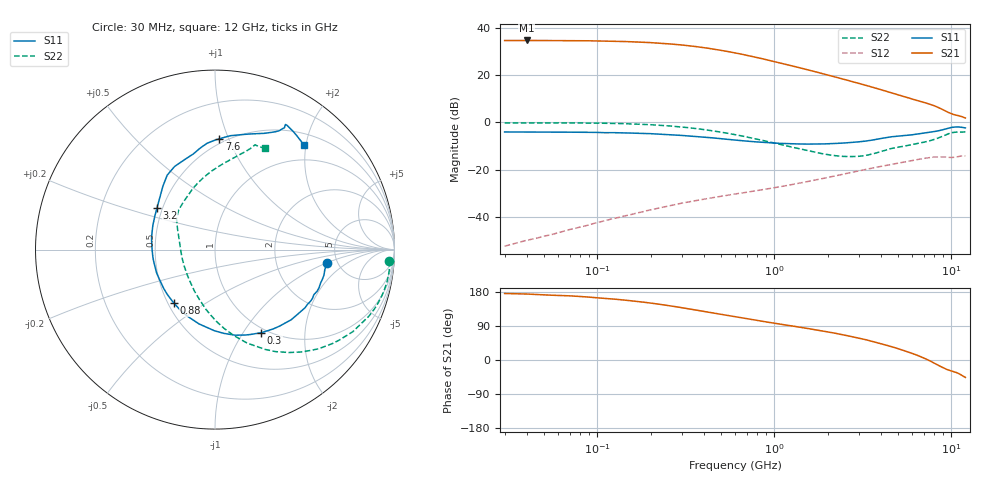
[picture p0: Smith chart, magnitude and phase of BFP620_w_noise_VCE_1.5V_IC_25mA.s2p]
! Infineon Technologies  Discrete & RF Semiconductors
! BFP620
! VCE =  1.5 V,  IC =  25 mA
! Common Emitter S-Parameters:  Nov 2015
# GHz  S  MA  R  50
!  f  S11  S21  S12  S22
! GHz  MAG  ANG  MAG  ANG  MAG  ANG  MAG  ANG
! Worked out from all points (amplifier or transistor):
!   239 points, 30 MHz to 12 GHz, reference 50 ohm
!   highest |S21| = 34.7 dB at 40 MHz (marker M1)
!   |S21| within 3 dB of that: start of sweep to 397 MHz
!   unconditionally stable (mu >= 1): 2.745 GHz to end of sweep
!   at 300 MHz: K = 0.31, MSG = 33.5 dB, |S12| = -34.2 dB
!   at 1.88 GHz: K = 0.93, MSG = 22.2 dB, |S12| = -23.7 dB
!   at 12 GHz: K = 1.09, MAG = 6.2 dB, |S12| = -14.2 dB
!   lowest NFmin = 1.05 dB at 450 MHz
!   S11 on the Smith chart (normalised r, x): 30 MHz: 4.11, -1.01; 300 MHz: 0.94, -1.21; 880 MHz: 0.54, -0.37; 3.2 GHz: 0.47, +0.26; 7.6 GHz: 0.46, +0.93; 12 GHz: 0.70, +1.97
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0.03  0.6275 -6.8  54.05 175.5  0.0024 89.7  0.974 -3.7
0.04  0.6243 -9.0  54.25 174.1  0.0032 87.7  0.9767 -5.4
0.05  0.622 -10.4  54.05 171.6  0.0039 86.4  0.978 -7.1
0.07  0.6206 -15.5  53.92 169.3  0.0054 84.3  0.9754 -10.5
0.085  0.6171 -18.7  53.42 166.8  0.0064 82.0  0.9705 -13.0
0.12  0.6074 -26.6  52.44 161.4  0.009 79.2  0.9539 -18.8
0.15  0.5974 -32.8  51.2 157.0  0.0109 77.0  0.9342 -23.4
0.2  0.5775 -42.5  48.85 150.2  0.0141 73.4  0.8936 -30.8
0.24  0.5575 -50.0  46.69 145.1  0.0163 70.5  0.8561 -36.1
0.3  0.53 -60.9  43.53 138.0  0.0195 67.2  0.7995 -43.7
0.4  0.49 -76.7  38.26 128.1  0.0237 62.9  0.7052 -54.4
0.5  0.4525 -90.3  33.51 120.3  0.0273 60.0  0.6218 -63.4
0.6  0.4238 -102.0  29.59 114.0  0.0305 58.2  0.5511 -71.0
0.7  0.4018 -112.4  26.27 108.7  0.0333 56.9  0.4906 -77.6
0.88  0.3752 -127.7  21.72 101.2  0.0383 55.5  0.4079 -87.7
1.2  0.3527 -148.5  16.42 91.2  0.0468 53.9  0.312 -102.9
1.64  0.3479 -169.5  12.24 81.1  0.0586 51.8  0.2404 -122.0
2.34  0.3621 166.1  8.626 68.2  0.0772 46.8  0.193 -153.6
3.2  0.3976 144.4  6.274 54.8  0.099 39.0  0.1972 172.6
4.5  0.493 122.7  4.314 36.2  0.1275 26.4  0.2759 141.0
7.6  0.6183 87.7  2.408 -2.8  0.1811 -4.7  0.411 98.0
12  0.7647 49.5  1.236 -45.9  0.1949 -41.4  0.6306 63.6
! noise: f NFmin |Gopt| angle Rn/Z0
0.45  1.05  0.07  -148  0.1
0.9  1.05  0.13  -147  0.1
1.9  1.06  0.16  -140  0.1
2.4  1.09  0.18  -135  0.11
3.5  1.13  0.26  -96  0.15
5.5  1.38  0.31  -84  0.2
10  1.78  0.61  -46  0.85
